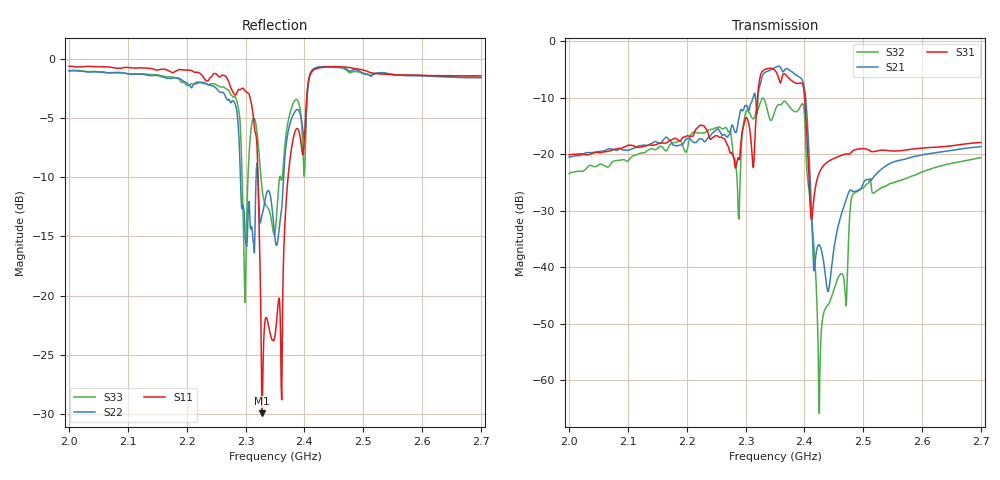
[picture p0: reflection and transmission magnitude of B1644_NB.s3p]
! Matrix data file written by TouchstoneData, EPCOS AG
! FILENAME: "LR91B.NB.1.snp"
! COMMENT: "(LR91B.NB.1.s3p)"
! INFO: nport=3, nfreq=801
! DATE: "Mon Dec 15 10:15:43 2008"
! USER: "Adrian Ma"
! port | pin | signal
!  1  |  2  |  IN
!  2  |  4  |  OUT
!  3  |  6  |  OUT
# MHZ S RI R 50
! freq  reS11 imS11  reS12 imS12  reS13 imS13  ...
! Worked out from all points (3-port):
!   801 points, 2 GHz to 2.7 GHz, reference 50 ohm
!   strongest paths, dB at 2 GHz, 2.175 GHz, 2.35 GHz, 2.525 GHz, 2.7 GHz:
!     S31: -20.1, -17.4, -5.2, -19.4, -17.9
!     S21: -20.5, -18.1, -4.7, -23.2, -18.7
!     S32: -23.4, -18.1, -12.3, -26.4, -20.6
!   lowest |S11| = -30.0 dB at 2.328 GHz (marker M1), VSWR 1.07, Z = 52.5 + j2.12 ohm
!   |S11| at or under -10 dB: 2.321 GHz to 2.372 GHz (51.18 MHz wide, 2.18 % of centre)
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2000  -0.7039 -0.6102  -0.0678 0.0655  -0.0666 0.0726
      -0.0681 0.0651  -0.2172 -0.8648  -0.0429 0.0519
      -0.0672 0.0722  -0.0432 0.0518  -0.334 -0.8265
2287.875  -0.6174 0.4118  0.1547 0.1252  -0.000829 0.0929
          0.1547 0.1253  -0.4348 0.2565  0.0137 -0.0233
          -0.00101 0.0929  0.0138 -0.0233  -0.5435 0.2853
2303.625  -0.2842 0.6594  0.219 -0.1401  0.0781 0.1851
          0.2195 -0.1407  -0.1904 -0.0474  0.015 0.2419
          0.0779 0.1857  0.0145 0.242  -0.2534 -0.1564
2328.125  0.0246 0.0202  -0.1979 -0.4429  0.2379 0.4831
          -0.196 -0.4445  0.1962 0.0991  0.2879 0.1167
          0.2354 0.4851  0.2877 0.1171  0.2511 0.124
2350  0.0678 0.00229  -0.5435 0.2103  0.4979 -0.2353
      -0.5476 0.2029  -0.1619 0.0639  -0.2047 0.1313
      0.5026 -0.2272  -0.2051 0.1305  -0.1421 0.1169
2397.25  0.2628 -0.2928  0.437 -0.0536  -0.3569 0.2058
         0.4375 -0.0508  0.3698 -0.3426  0.1456 -0.2397
         -0.3581 0.2025  0.1458 -0.2391  0.1517 -0.4
2412.125  0.4247 -0.7694  -0.000714 -0.0306  -0.0217 0.0146
          -0.000636 -0.0306  0.6741 -0.5796  -0.0128 -0.0247
          -0.0218 0.0145  -0.0127 -0.0247  0.5465 -0.699
2426.125  0.1294 -0.9089  0.0135 0.00756  -0.0695 -0.00839
          0.0135 0.00759  0.476 -0.7931  0.000431 0.00098
          -0.0695 -0.00877  0.000425 0.000981  0.3066 -0.871
2483.875  -0.3853 -0.8257  -0.0385 0.0265  -0.0991 0.0429
          -0.0386 0.0264  0.0431 -0.8986  -0.0437 0.0102
          -0.0992 0.0424  -0.0436 0.0101  -0.1219 -0.8749
2700  -0.6665 -0.5245  -0.0733 0.0908  -0.0657 0.1087
      -0.0738 0.0905  -0.3237 -0.7679  -0.0504 0.0787
      -0.0664 0.1081  -0.0504 0.0784  -0.4677 -0.6913
